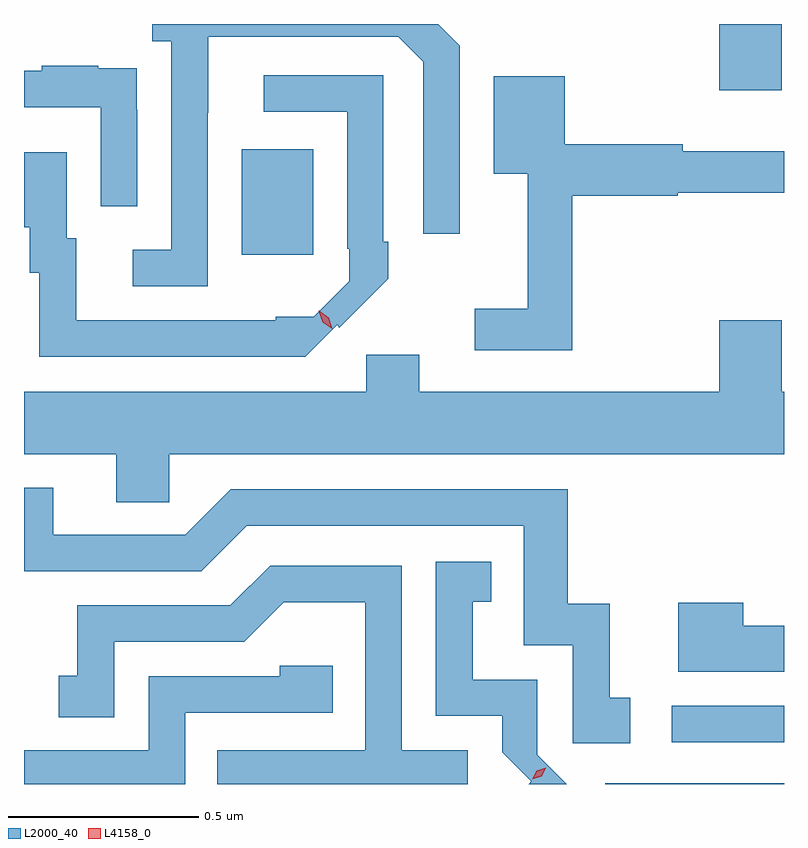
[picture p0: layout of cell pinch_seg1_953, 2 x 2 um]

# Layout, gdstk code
import gdstk
lib = gdstk.Library(unit=1e-6, precision=1e-09)
def R(c, l, rs):  # rectangles x0, y0, x1, y1
    for r in rs: c.add(gdstk.rectangle(r[:2], r[2:], *l))
def P(c, l, *ps):  # polygons
    for p in ps: c.add(gdstk.Polygon(p, *l))
L2000_40 = (2000, 40)
L4158_0 = (4158, 0)

pinch_seg1_953 = lib.new_cell('pinch_seg1_953')
R(pinch_seg1_953, L2000_40, [(128.743,520.228,129.214,520.23), (128.919,520.338,129.214,520.434), (127.787,521.621,127.975,521.899), (129.044,522.054,129.208,522.228)])
P(pinch_seg1_953, L2000_40, [(127.698,521.995),(127.699,521.995),(127.699,522.195),(128.199,522.195),(128.265,522.129),(128.265,521.676),(128.361,521.676),(128.361,522.171),(128.304,522.228),(127.551,522.228),(127.551,522.182),(127.602,522.182),(127.602,521.634),(127.5,521.634),(127.5,521.538),(127.698,521.538)],
  [(127.512,522.002),(127.511,522.002),(127.511,522.111),(127.409,522.111),(127.409,522.118),(127.261,522.118),(127.261,522.105),(127.214,522.105),(127.214,522.009),(127.416,522.009),(127.416,521.748),(127.512,521.748)],
  [(128.038,521.436),(128.044,521.429),(128.173,521.558),(128.173,521.655),(128.16,521.655),(128.16,522.093),(127.845,522.093),(127.845,521.997),(128.064,521.997),(128.064,521.636),(128.07,521.636),(128.07,521.551),(127.977,521.458),(127.876,521.458),(127.876,521.448),(127.351,521.448),(127.351,521.664),(127.327,521.664),(127.327,521.89),(127.214,521.89),(127.214,521.693),(127.229,521.693),(127.229,521.574),(127.254,521.574),(127.254,521.352),(127.954,521.352)],
  [(128.657,521.776),(128.934,521.776),(128.934,521.784),(129.214,521.784),(129.214,521.893),(128.948,521.893),(128.948,521.912),(128.637,521.912),(128.637,522.091),(128.45,522.091),(128.45,521.834),(128.54,521.834),(128.54,521.479),(128.4,521.479),(128.4,521.37),(128.657,521.37)],
  [(127.596,521.096),(129.214,521.096),(129.214,521.26),(129.208,521.26),(129.208,521.449),(129.044,521.449),(129.044,521.26),(128.254,521.26),(128.254,521.358),(128.115,521.358),(128.115,521.26),(127.214,521.26),(127.214,521.096),(127.457,521.096),(127.457,520.969),(127.596,520.969)],
  [(128.809,520.455),(128.756,520.455),(128.756,520.702),(128.645,520.702),(128.645,521.004),(127.758,521.004),(127.638,520.884),(127.291,520.884),(127.291,521.007),(127.214,521.007),(127.214,520.788),(127.68,520.788),(127.8,520.908),(128.529,520.908),(128.529,520.593),(128.658,520.593),(128.658,520.335),(128.809,520.335)],
  [(128.565,520.305),(128.565,520.503),(128.395,520.503),(128.395,520.707),(128.444,520.707),(128.444,520.813),(128.298,520.813),(128.298,520.407),(128.472,520.407),(128.472,520.312),(128.549,520.235),(128.542,520.228),(128.642,520.228)],
  [(128.382,520.317),(128.208,520.317),(128.208,520.803),(127.862,520.803),(127.757,520.698),(127.354,520.698),(127.354,520.513),(127.305,520.513),(127.305,520.404),(127.452,520.404),(127.452,520.602),(127.794,520.602),(127.898,520.706),(128.112,520.706),(128.112,520.317),(127.723,520.317),(127.723,520.228),(128.382,520.228)],
  [(129.214,520.645),(129.107,520.645),(129.107,520.705),(128.936,520.705),(128.936,520.523),(129.214,520.523)],
  [(127.638,520.416),(128.027,520.416),(128.027,520.539),(127.887,520.539),(127.887,520.512),(127.542,520.512),(127.542,520.317),(127.214,520.317),(127.214,520.228),(127.638,520.228)])
P(pinch_seg1_953, L4158_0, [(128.025,521.426),(128,521.443),(127.99,521.472),(127.99,521.473),(127.991,521.473),(128.016,521.455),(128.025,521.426),(128.025,521.426)],
  [(128.551,520.24),(128.551,520.24),(128.563,520.263),(128.587,520.271),(128.587,520.271),(128.587,520.271),(128.576,520.248),(128.551,520.24)])

lib.write_gds('pinch_seg1_953.gds')
